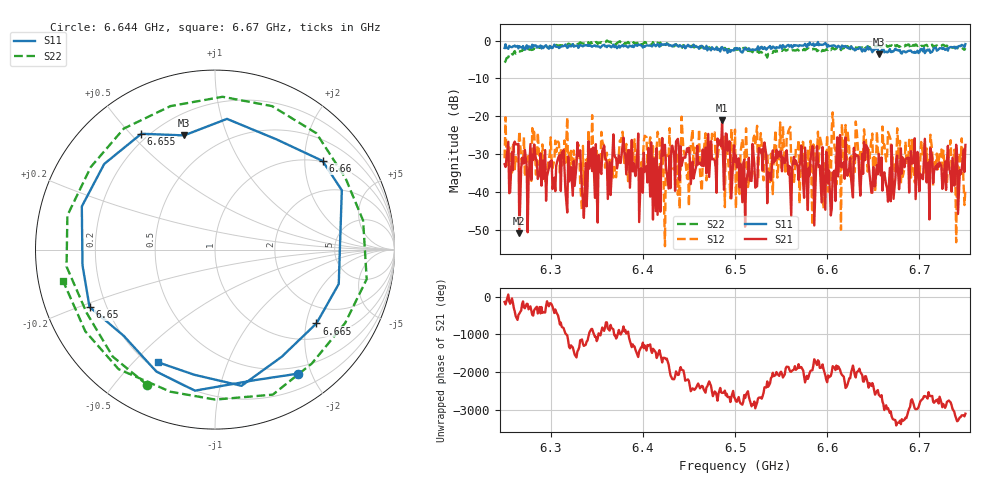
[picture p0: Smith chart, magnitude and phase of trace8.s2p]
# Hz S RI R 50
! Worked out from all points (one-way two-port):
!   401 points, 6.25 GHz to 6.75 GHz, reference 50 ohm
!   highest |S21| = -21.10 dB at 6.486 GHz (marker M1); lowest = -50.8 dB at 6.266 GHz (marker M2)
!   lowest |S11| = -3.6 dB at 6.656 GHz (marker M3), VSWR 4.87, Z = 15.9 + j35.8 ohm
!   |S11| at or under -10 dB: nowhere
!   |S22| runs from -5.8 to 0.0 dB; largest |S21 - S12| = 0.13
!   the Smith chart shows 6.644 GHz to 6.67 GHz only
!   S11 on the Smith chart (normalised r, x): 6.644 GHz: 0.40, -1.81; 6.65 GHz: 0.14, -0.21; 6.655 GHz: 0.17, +0.54; 6.66 GHz: 0.98, +2.44; 6.665 GHz: 1.43, -2.30; 6.67 GHz: 0.24, -0.59
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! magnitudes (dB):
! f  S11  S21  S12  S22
! 6.25 GHz  -2.0  -32.6  -31.1  -5.8
! 6.266 GHz  -1.5  -50.8  -23.9  -2.9
! 6.33 GHz  -1.9  -30.5  -27.4  -0.9
! 6.334 GHz  -1.4  -39.9  -44.9  -0.7
! 6.379 GHz  -1.6  -25.6  -28.2  -0.6
! 6.418 GHz  -1.6  -33.3  -26.1  -0.9
! 6.486 GHz  -1.7  -21.1  -28.6  -2.6
! 6.5 GHz  -2.0  -32.0  -23.5  -2.1
! 6.559 GHz  -1.6  -33.1  -23.3  -2.4
! 6.584 GHz  -1.2  -27.8  -48.7  -2.4
! 6.606 GHz  -1.3  -34.9  -19.0  -1.9
! 6.612 GHz  -1.4  -35.9  -32.8  -2.0
! 6.644 GHz  -1.6  -28.3  -34.6  -1.5
! 6.65 GHz  -2.3  -33.4  -35.5  -1.6
! 6.655 GHz  -2.3  -35.3  -28.9  -1.3
! 6.656 GHz  -3.6  -29.9  -30.5  -1.3
! 6.66 GHz  -2.2  -39.6  -22.7  -1.3
! 6.665 GHz  -3.1  -39.0  -30.7  -1.6
! 6.668 GHz  -2.2  -33.6  -25.4  -1.4
! 6.67 GHz  -3.0  -27.6  -36.4  -1.3
! 6.744 GHz  -1.4  -34.2  -29.6  -2.1
! 6.75 GHz  -0.9  -27.6  -39.3  -2.0
